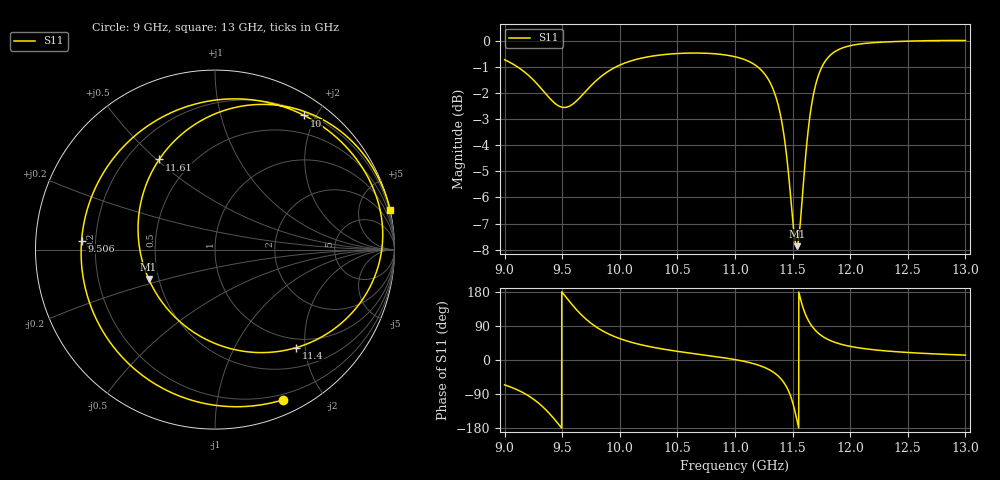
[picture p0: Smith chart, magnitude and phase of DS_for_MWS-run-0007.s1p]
! TOUCHSTONE file generated by CST DESIGN STUDIO
! Date and time: Tue Jan 28 13:43:18 2025
! Project name: C:\Work\MatlabApps\UnitCellOptimizationMatlab\CST\unitcell.cst
! Tree item: Tasks\Sweep1\SPara1\S-Parameters
! Header version: 2024
! Port assignment regex: !\s*Touchstone port\s*([0-9]+)\s*=\s*(CST MWS port|CST DES external port|CST DES block port)\s*(.+)\s* \(\"(.*)\"\)(\s*mode\s*([0-9]+))?.*
! Touchstone port assignment:
! Touchstone port 1 = CST DES external port 1 ("")
# GHz S MA R 50
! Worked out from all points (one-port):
!   4001 points, 9 GHz to 13 GHz, reference 50 ohm
!   lowest |S11| = -7.9 dB at 11.54 GHz (marker M1), VSWR 2.36, Z = 22 - j8.58 ohm
!   |S11| at or under -10 dB: nowhere
!   S11 on the Smith chart (normalised r, x): 9 GHz: 0.14, -1.54; 9.506 GHz: 0.15, +0.03; 10 GHz: 0.24, +1.84; 11.4 GHz: 0.83, -1.82; 11.61 GHz: 0.33, +0.51; 13 GHz: -0.01, +8.89
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9  0.9189 -65.6
9.169  0.8721 -87.7
9.285  0.8248 -111.3
9.385  0.7783 -139.9
9.5  0.7455 178.5
9.506  0.7451 176.1
9.617  0.764 135.1
9.715  0.8046 105.7
9.83  0.8511 80.5
10  0.8976 56.4
10.001  0.8978 56.3
10.213  0.928 38.3
10.5  0.9445 22.9
11  0.9312 1.1
11.258  0.8628 -19.8
11.337  0.8008 -33.0
11.401  0.7089 -50.4
11.456  0.5805 -76.1
11.5  0.4566 -111.6
11.536  0.4044 -156.2
11.571  0.4594 158.3
11.61  0.5908 121.8
11.678  0.7824 85.2
11.778  0.9095 58.9
11.873  0.9541 46.0
12  0.9777 36.0
12.5  0.9974 19.8
13  1 12.8
